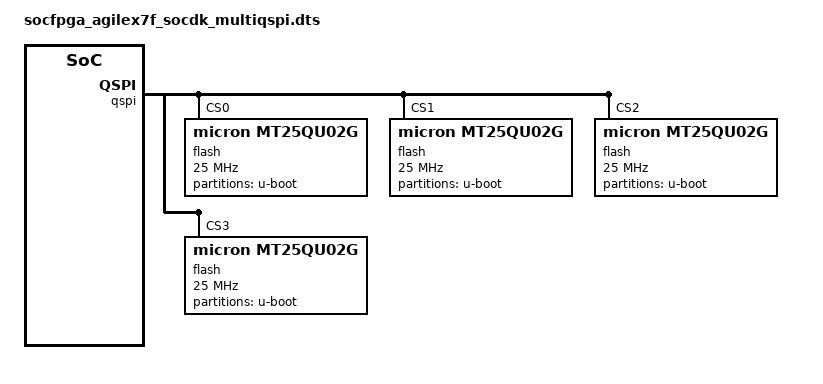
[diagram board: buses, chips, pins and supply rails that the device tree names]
// SPDX-License-Identifier:     GPL-2.0
/*
 * Copyright (C) 2024, Intel Corporation
 */

#include "socfpga_agilex_socdk.dts"

&qspi {
	status = "okay";
	/delete-node/ flash@0;

	flash@0 {
		#address-cells = <1>;
		#size-cells = <1>;
		compatible = "micron,mt25qu02g", "jedec,spi-nor";
		reg = <0>;
		spi-max-frequency = <25000000>;

		m25p,fast-read;
		cdns,page-size = <256>;
		cdns,block-size = <16>;
		cdns,read-delay = <2>;
		cdns,tshsl-ns = <50>;
		cdns,tsd2d-ns = <50>;
		cdns,tchsh-ns = <4>;
		cdns,tslch-ns = <4>;

		partitions {
			compatible = "fixed-partitions";
			#address-cells = <1>;
			#size-cells = <1>;
			rsu-handle = <&qspi_boot0>;

			qspi_boot0: partition@0 {
				label = "u-boot";
				reg = <0x0 0x10000000>;
			};
		};
	};

	flash@1 {
		#address-cells = <1>;
		#size-cells = <1>;
		compatible = "micron,mt25qu02g", "jedec,spi-nor";
		reg = <1>;
		spi-max-frequency = <25000000>;

		m25p,fast-read;
		cdns,page-size = <256>;
		cdns,block-size = <16>;
		cdns,read-delay = <2>;
		cdns,tshsl-ns = <50>;
		cdns,tsd2d-ns = <50>;
		cdns,tchsh-ns = <4>;
		cdns,tslch-ns = <4>;

		partitions {
			compatible = "fixed-partitions";
			#address-cells = <1>;
			#size-cells = <1>;
			rsu-handle = <&qspi_boot1>;

			qspi_boot1: partition@0 {
				label = "u-boot";
				reg = <0x0 0x10000000>;
			};
		};
	};

	flash@2 {
		#address-cells = <1>;
		#size-cells = <1>;
		compatible = "micron,mt25qu02g", "jedec,spi-nor";
		reg = <2>;
		spi-max-frequency = <25000000>;

		m25p,fast-read;
		cdns,page-size = <256>;
		cdns,block-size = <16>;
		cdns,read-delay = <2>;
		cdns,tshsl-ns = <50>;
		cdns,tsd2d-ns = <50>;
		cdns,tchsh-ns = <4>;
		cdns,tslch-ns = <4>;

		partitions {
			compatible = "fixed-partitions";
			#address-cells = <1>;
			#size-cells = <1>;
			rsu-handle = <&qspi_boot2>;

			qspi_boot2: partition@0 {
				label = "u-boot";
				reg = <0x0 0x10000000>;
			};
		};
	};

	flash@3 {
		#address-cells = <1>;
		#size-cells = <1>;
		compatible = "micron,mt25qu02g", "jedec,spi-nor";
		reg = <3>;
		spi-max-frequency = <25000000>;

		m25p,fast-read;
		cdns,page-size = <256>;
		cdns,block-size = <16>;
		cdns,read-delay = <2>;
		cdns,tshsl-ns = <50>;
		cdns,tsd2d-ns = <50>;
		cdns,tchsh-ns = <4>;
		cdns,tslch-ns = <4>;
		partitions {
			compatible = "fixed-partitions";
			#address-cells = <1>;
			#size-cells = <1>;
			rsu-handle = <&qspi_boot3>;

			qspi_boot3: partition@0 {
				label = "u-boot";
				reg = <0x0 0x10000000>;
			};
		};
	};
};
